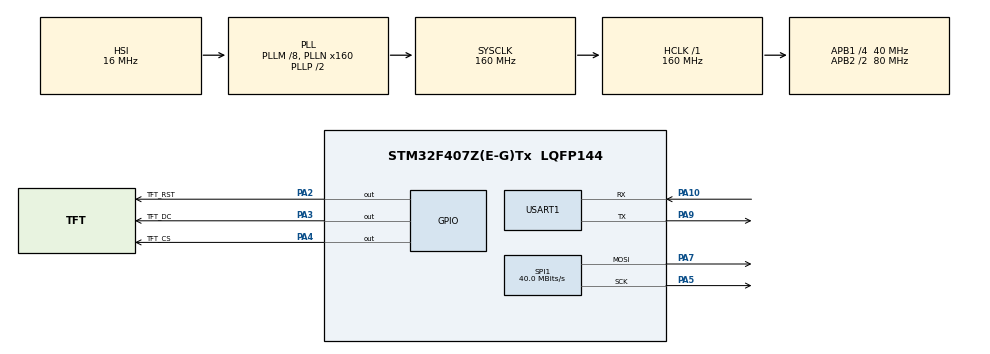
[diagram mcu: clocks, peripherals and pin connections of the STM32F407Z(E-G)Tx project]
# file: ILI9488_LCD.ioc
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Mcu.Family=STM32F4
Mcu.Name=STM32F407Z(E-G)Tx
Mcu.Package=LQFP144
NVIC.PriorityGroup=NVIC_PRIORITYGROUP_4
PA10.Mode=Asynchronous
PA10.Signal=USART1_RX
PA2.GPIO_Label=TFT_RST
PA2.GPIO_PuPd=GPIO_PULLUP
PA2.GPIO_Speed=GPIO_SPEED_FREQ_HIGH
PA2.Signal=GPIO_Output
PA3.GPIO_Label=TFT_DC
PA3.GPIO_PuPd=GPIO_PULLUP
PA3.GPIO_Speed=GPIO_SPEED_FREQ_HIGH
PA3.Signal=GPIO_Output
PA4.GPIO_Label=TFT_CS
PA4.GPIO_PuPd=GPIO_PULLUP
PA4.GPIO_Speed=GPIO_SPEED_FREQ_HIGH
PA4.Signal=GPIO_Output
PA5.Mode=TX_Only_Simplex_Unidirect_Master
PA5.Signal=SPI1_SCK
PA7.Mode=TX_Only_Simplex_Unidirect_Master
PA7.Signal=SPI1_MOSI
PA9.Mode=Asynchronous
PA9.Signal=USART1_TX
ProjectManager.HeapSize=0x200
ProjectManager.StackSize=0x400
ProjectManager.TargetToolchain=MDK-ARM V5.32
RCC.48MHZClocksFreq_Value=80000000
RCC.AHBFreq_Value=160000000
RCC.APB1CLKDivider=RCC_HCLK_DIV4
RCC.APB1Freq_Value=40000000
RCC.APB1TimFreq_Value=80000000
RCC.APB2CLKDivider=RCC_HCLK_DIV2
RCC.APB2Freq_Value=80000000
RCC.APB2TimFreq_Value=160000000
RCC.CortexFreq_Value=160000000
RCC.HCLKFreq_Value=160000000
RCC.HSE_VALUE=25000000
RCC.HSI_VALUE=16000000
RCC.LSE_VALUE=32768
RCC.PLLM=8
RCC.PLLN=160
RCC.SYSCLKFreq_VALUE=160000000
RCC.SYSCLKSource=RCC_SYSCLKSOURCE_PLLCLK
RCC.VCOOutputFreq_Value=320000000
SPI1.CalculateBaudRate=40.0 MBits/s
SPI1.Direction=SPI_DIRECTION_2LINES
SPI1.Mode=SPI_MODE_MASTER
SPI1.VirtualType=VM_MASTER
USART1.VirtualMode=VM_ASYNC
board=custom

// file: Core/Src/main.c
/* USER CODE BEGIN Header */
/**
  ******************************************************************************
  * @file           : main.c
  * @brief          : Main program body
  ******************************************************************************
  * @attention
  *
  * Copyright (c) 2024 STMicroelectronics.
  * All rights reserved.
  *
  * This software is licensed under terms that can be found in the LICENSE file
  * in the root directory of this software component.
  * If no LICENSE file comes with this software, it is provided AS-IS.
  *
  ******************************************************************************
  */
/* USER CODE END Header */
#include "main.h"
#include "spi.h"
#include "usart.h"
#include "gpio.h"

/* USER CODE BEGIN Includes */
#include "ili9488.h"
#include <stdio.h>
/* USER CODE END Includes */

/* USER CODE BEGIN PV */
int fputc(int ch,FILE *f)
{
    uint8_t temp[1]={ch};
    HAL_UART_Transmit(&huart1, temp, 1, 2);
	return ch;
}
/* USER CODE END PV */

void SystemClock_Config(void);

int main(void)
{

  /* MCU Configuration--------------------------------------------------------*/

  /* Reset of all peripherals, Initializes the Flash interface and the Systick. */
  HAL_Init();

  /* Configure the system clock */
  SystemClock_Config();

  /* Initialize all configured peripherals */
  MX_GPIO_Init();
  MX_SPI1_Init();
  MX_USART1_UART_Init();
  /* USER CODE BEGIN 2 */
  /* USER CODE BEGIN 2 */
  ILI9488_Init();

  HAL_Delay(1000);
  setRotation(0);
  char badmpu[] = "hello";
  fillScreen(ILI9488_YELLOW);
	HAL_Delay(1000);
	fillRect(100, 100, 110, 110, ILI9488_RED);

  writeLine(0, 0, 320, 480, ILI9488_BLUE);
	HAL_Delay(1000);
  //fillScreen(ILI9488_WHITE);
  ILI9488_printText(badmpu,10,10,ILI9488_BLACK,ILI9488_WHITE,1);
  ILI9488_printText(badmpu,10,20,ILI9488_BLUE,ILI9488_WHITE,2);
  ILI9488_printText(badmpu,10,50,ILI9488_GREEN,ILI9488_WHITE,3);
  ILI9488_printText(badmpu,10,100,ILI9488_RED,ILI9488_WHITE,4);
  //testLines(ILI9488_BLUE);
  /* USER CODE END 2 */

  /* Infinite loop */
  while (1)
  {

  }
}

void SystemClock_Config(void)
{
  RCC_OscInitTypeDef RCC_OscInitStruct = {0};
  RCC_ClkInitTypeDef RCC_ClkInitStruct = {0};

  /** Configure the main internal regulator output voltage
  */
  __HAL_RCC_PWR_CLK_ENABLE();
  __HAL_PWR_VOLTAGESCALING_CONFIG(PWR_REGULATOR_VOLTAGE_SCALE1);

  /** Initializes the RCC Oscillators according to the specified parameters
  * in the RCC_OscInitTypeDef structure.
  */
  RCC_OscInitStruct.OscillatorType = RCC_OSCILLATORTYPE_HSI;
  RCC_OscInitStruct.HSIState = RCC_HSI_ON;
  RCC_OscInitStruct.HSICalibrationValue = RCC_HSICALIBRATION_DEFAULT;
  RCC_OscInitStruct.PLL.PLLState = RCC_PLL_ON;
  RCC_OscInitStruct.PLL.PLLSource = RCC_PLLSOURCE_HSI;
  RCC_OscInitStruct.PLL.PLLM = 8;
  RCC_OscInitStruct.PLL.PLLN = 160;
  RCC_OscInitStruct.PLL.PLLP = RCC_PLLP_DIV2;
  RCC_OscInitStruct.PLL.PLLQ = 4;
  if (HAL_RCC_OscConfig(&RCC_OscInitStruct) != HAL_OK)
  {
    Error_Handler();
  }

  /** Initializes the CPU, AHB and APB buses clocks
  */
  RCC_ClkInitStruct.ClockType = RCC_CLOCKTYPE_HCLK|RCC_CLOCKTYPE_SYSCLK
                              |RCC_CLOCKTYPE_PCLK1|RCC_CLOCKTYPE_PCLK2;
  RCC_ClkInitStruct.SYSCLKSource = RCC_SYSCLKSOURCE_PLLCLK;
  RCC_ClkInitStruct.AHBCLKDivider = RCC_SYSCLK_DIV1;
  RCC_ClkInitStruct.APB1CLKDivider = RCC_HCLK_DIV4;
  RCC_ClkInitStruct.APB2CLKDivider = RCC_HCLK_DIV2;

  if (HAL_RCC_ClockConfig(&RCC_ClkInitStruct, FLASH_LATENCY_5) != HAL_OK)
  {
    Error_Handler();
  }
}

void Error_Handler(void)
{
  __disable_irq();
  while (1)
  {
  }
}
